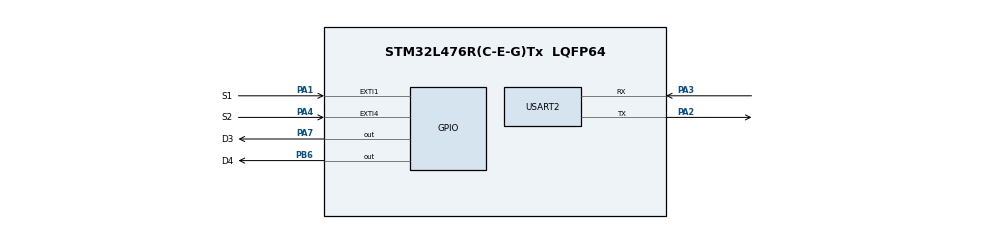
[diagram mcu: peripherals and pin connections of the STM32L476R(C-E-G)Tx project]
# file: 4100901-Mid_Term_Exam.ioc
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Mcu.Family=STM32L4
Mcu.Name=STM32L476R(C-E-G)Tx
Mcu.Package=LQFP64
NVIC.EXTI1_IRQn=true\:0\:0\:false\:false\:true\:true\:true\:true
NVIC.EXTI4_IRQn=true\:0\:0\:false\:false\:true\:true\:true\:true
NVIC.PriorityGroup=NVIC_PRIORITYGROUP_4
PA1.GPIO_Label=S1
PA1.Signal=GPXTI1
PA2.Mode=Asynchronous
PA2.Signal=USART2_TX
PA3.Mode=Asynchronous
PA3.Signal=USART2_RX
PA4.GPIO_Label=S2
PA4.Signal=GPXTI4
PA7.GPIO_Label=D3
PA7.Signal=GPIO_Output
PB6.GPIO_Label=D4
PB6.Signal=GPIO_Output
ProjectManager.HeapSize=0x200
ProjectManager.StackSize=0x400
ProjectManager.TargetToolchain=STM32CubeIDE
RCC.HSE_VALUE=8000000
RCC.HSI_VALUE=16000000
RCC.LSE_VALUE=32768
RCC.MSI_VALUE=4000000
RCC.VCOOutputFreq_Value=32000000
USART2.VirtualMode-Asynchronous=VM_ASYNC
board=custom

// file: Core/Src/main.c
/* USER CODE BEGIN Header */
/**
  ******************************************************************************
  * @file           : main.c
  * @brief          : Main program body
  ******************************************************************************
  * @attention
  *
  * Copyright (c) 2024 STMicroelectronics.
  * All rights reserved.
  *
  * This software is licensed under terms that can be found in the LICENSE file
  * in the root directory of this software component.
  * If no LICENSE file comes with this software, it is provided AS-IS.
  *
  ******************************************************************************
  */
/* USER CODE END Header */
#include "main.h"

UART_HandleTypeDef huart2;

/* USER CODE BEGIN PV */
uint8_t s1_pressed = 0;
uint8_t s2_pressed = 0;

/* USER CODE END PV */

void SystemClock_Config(void);
static void MX_GPIO_Init(void);
static void MX_USART2_UART_Init(void);

/* USER CODE BEGIN 0 */
void HAL_GPIO_EXTI_Callback(uint16_t GPIO_Pin)
{
  // 1. Tener 2 botones: Giro Izquierda(S1), Giro Derecha(S2).
  if (GPIO_Pin == S1_Pin) {
	  s1_pressed = 1;
  }
  if (GPIO_Pin == S2_Pin) {
	s2_pressed = 1;
  }
}

/* USER CODE END 0 */

int main(void)
{

  /* MCU Configuration--------------------------------------------------------*/

  /* Reset of all peripherals, Initializes the Flash interface and the Systick. */
  HAL_Init();

  /* Configure the system clock */
  SystemClock_Config();

  /* Initialize all configured peripherals */
  MX_GPIO_Init();
  MX_USART2_UART_Init();
  /* USER CODE BEGIN 2 */
  // 3. Tener un puerto de depuración con el PC (USART2)
  /* USER CODE END 2 */

  /* Infinite loop */
  /* USER CODE BEGIN WHILE */
  uint32_t s1_last_pressed_tick = 0;
  uint32_t d3_blinks = 0;
  uint32_t d3_tick = 0;

  uint32_t s2_last_pressed_tick = 0;
  uint32_t d4_blinks = 0;
  uint32_t d4_tick = 0;
  while (1)
  {
	  if (s1_pressed != 0) {
		  s1_pressed = 0;
		  // 4. Debe enviar mensajes de información por la consola cuando hayan eventos en el sistema.
		  HAL_UART_Transmit(&huart2, "S1 Pressed\r\n", 12, 10);
		  // 5. Si un botón de giro se presiona 1 vez: la luz del lado correspondiente parpadea 3 veces.
		  d3_blinks = 6;
		  if (HAL_GetTick() - s1_last_pressed_tick < 500) {
			  // 6. Si un botón de giro se presiona 2 o mas veces durante 500ms: la luz del lado correspondiente parpadea indefinidamente.
			  d3_blinks = 0xFFFFFFFF;
		  }
		  s1_last_pressed_tick = HAL_GetTick();
		  // 7. Si un botón de giro se presiona y la luz del otro lado esta activa: se desactiva la luz del otro lado.
		  d4_blinks = 0;
	  }
	  if (s2_pressed != 0) {
		  s2_pressed = 0;
		  // 4. Debe enviar mensajes de información por la consola cuando hayan eventos en el sistema.
		  HAL_UART_Transmit(&huart2, "S2 Pressed\r\n", 12, 10);
		  // 5. Si un botón de giro se presiona 1 vez: la luz del lado correspondiente parpadea 3 veces.
		  d4_blinks = 6;
		  if (HAL_GetTick() - s2_last_pressed_tick < 500) {
			  // 6. Si un botón de giro se presiona 2 o mas veces durante 500ms: la luz del lado correspondiente parpadea indefinidamente.
			  d4_blinks = 0xFFFFFFFF;
		  }
		  s2_last_pressed_tick = HAL_GetTick();
		  // 7. Si un botón de giro se presiona y la luz del otro lado esta activa: se desactiva la luz del otro lado.
		  d3_blinks = 0;
	  }
	  // 2. Tener 2 luces(LEDs): Luz Izquierda(D3), Luz Derecha(D4).
	  if (d3_blinks > 0) {
		  if (d3_tick < HAL_GetTick()){
			  HAL_GPIO_TogglePin(D3_GPIO_Port, D3_Pin);
			  // 8. La frecuencia de parpadeo de las luces debe ser de 2Hz (toggle every 250ms).
			  d3_tick = HAL_GetTick() + 250;
			  d3_blinks--;
		  }
	  }
	  if (d4_blinks > 0) {
		  if (d4_tick < HAL_GetTick()){
			  HAL_GPIO_TogglePin(D4_GPIO_Port, D4_Pin);
			  // 8. La frecuencia de parpadeo de las luces debe ser de 2Hz (toggle every 250ms).
			  d4_tick = HAL_GetTick() + 250;
			  d4_blinks--;
		  }
	  }
    /* USER CODE END WHILE */

  }
}

void SystemClock_Config(void)
{
  RCC_OscInitTypeDef RCC_OscInitStruct = {0};
  RCC_ClkInitTypeDef RCC_ClkInitStruct = {0};

  /** Configure the main internal regulator output voltage
  */
  if (HAL_PWREx_ControlVoltageScaling(PWR_REGULATOR_VOLTAGE_SCALE1) != HAL_OK)
  {
    Error_Handler();
  }

  /** Initializes the RCC Oscillators according to the specified parameters
  * in the RCC_OscInitTypeDef structure.
  */
  RCC_OscInitStruct.OscillatorType = RCC_OSCILLATORTYPE_MSI;
  RCC_OscInitStruct.MSIState = RCC_MSI_ON;
  RCC_OscInitStruct.MSICalibrationValue = 0;
  RCC_OscInitStruct.MSIClockRange = RCC_MSIRANGE_6;
  RCC_OscInitStruct.PLL.PLLState = RCC_PLL_NONE;
  if (HAL_RCC_OscConfig(&RCC_OscInitStruct) != HAL_OK)
  {
    Error_Handler();
  }

  /** Initializes the CPU, AHB and APB buses clocks
  */
  RCC_ClkInitStruct.ClockType = RCC_CLOCKTYPE_HCLK|RCC_CLOCKTYPE_SYSCLK
                              |RCC_CLOCKTYPE_PCLK1|RCC_CLOCKTYPE_PCLK2;
  RCC_ClkInitStruct.SYSCLKSource = RCC_SYSCLKSOURCE_MSI;
  RCC_ClkInitStruct.AHBCLKDivider = RCC_SYSCLK_DIV1;
  RCC_ClkInitStruct.APB1CLKDivider = RCC_HCLK_DIV1;
  RCC_ClkInitStruct.APB2CLKDivider = RCC_HCLK_DIV1;

  if (HAL_RCC_ClockConfig(&RCC_ClkInitStruct, FLASH_LATENCY_0) != HAL_OK)
  {
    Error_Handler();
  }
}

static void MX_USART2_UART_Init(void)
{

  huart2.Instance = USART2;
  huart2.Init.BaudRate = 115200;
  huart2.Init.WordLength = UART_WORDLENGTH_8B;
  huart2.Init.StopBits = UART_STOPBITS_1;
  huart2.Init.Parity = UART_PARITY_NONE;
  huart2.Init.Mode = UART_MODE_TX_RX;
  huart2.Init.HwFlowCtl = UART_HWCONTROL_NONE;
  huart2.Init.OverSampling = UART_OVERSAMPLING_16;
  huart2.Init.OneBitSampling = UART_ONE_BIT_SAMPLE_DISABLE;
  huart2.AdvancedInit.AdvFeatureInit = UART_ADVFEATURE_NO_INIT;
  if (HAL_UART_Init(&huart2) != HAL_OK)
  {
    Error_Handler();
  }

}

static void MX_GPIO_Init(void)
{
  GPIO_InitTypeDef GPIO_InitStruct = {0};

  /* GPIO Ports Clock Enable */
  __HAL_RCC_GPIOA_CLK_ENABLE();
  __HAL_RCC_GPIOB_CLK_ENABLE();

  /*Configure GPIO pin Output Level */
  HAL_GPIO_WritePin(D3_GPIO_Port, D3_Pin, GPIO_PIN_RESET);

  /*Configure GPIO pin Output Level */
  HAL_GPIO_WritePin(D4_GPIO_Port, D4_Pin, GPIO_PIN_RESET);

  /*Configure GPIO pins : S1_Pin S2_Pin */
  GPIO_InitStruct.Pin = S1_Pin|S2_Pin;
  GPIO_InitStruct.Mode = GPIO_MODE_IT_RISING;
  GPIO_InitStruct.Pull = GPIO_NOPULL;
  HAL_GPIO_Init(GPIOA, &GPIO_InitStruct);

  /*Configure GPIO pin : D3_Pin */
  GPIO_InitStruct.Pin = D3_Pin;
  GPIO_InitStruct.Mode = GPIO_MODE_OUTPUT_PP;
  GPIO_InitStruct.Pull = GPIO_NOPULL;
  GPIO_InitStruct.Speed = GPIO_SPEED_FREQ_LOW;
  HAL_GPIO_Init(D3_GPIO_Port, &GPIO_InitStruct);

  /*Configure GPIO pin : D4_Pin */
  GPIO_InitStruct.Pin = D4_Pin;
  GPIO_InitStruct.Mode = GPIO_MODE_OUTPUT_PP;
  GPIO_InitStruct.Pull = GPIO_NOPULL;
  GPIO_InitStruct.Speed = GPIO_SPEED_FREQ_LOW;
  HAL_GPIO_Init(D4_GPIO_Port, &GPIO_InitStruct);

  /* EXTI interrupt init*/
  HAL_NVIC_SetPriority(EXTI1_IRQn, 0, 0);
  HAL_NVIC_EnableIRQ(EXTI1_IRQn);

  HAL_NVIC_SetPriority(EXTI4_IRQn, 0, 0);
  HAL_NVIC_EnableIRQ(EXTI4_IRQn);

}

void Error_Handler(void)
{
  __disable_irq();
  while (1)
  {
  }
}
